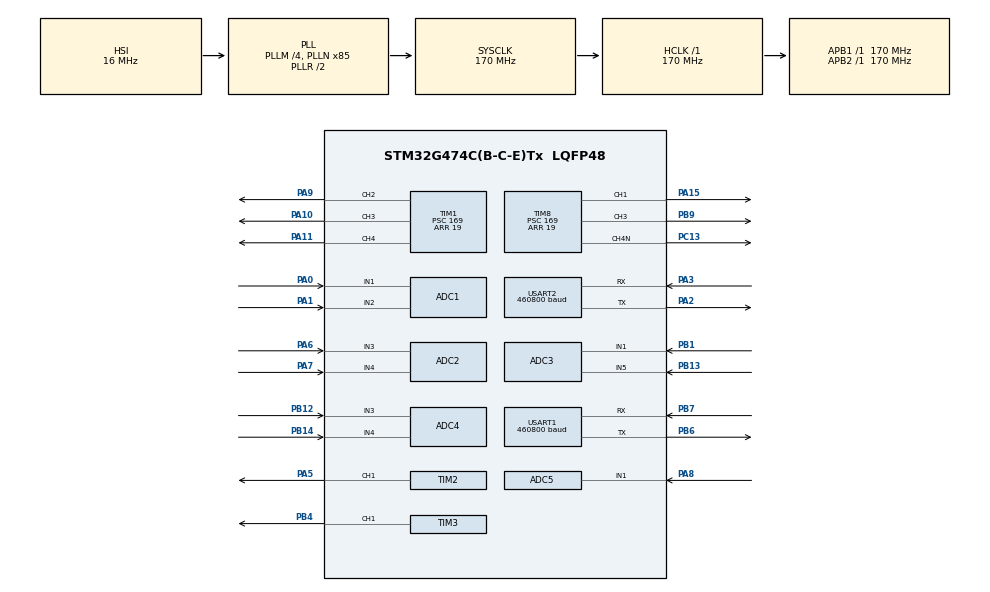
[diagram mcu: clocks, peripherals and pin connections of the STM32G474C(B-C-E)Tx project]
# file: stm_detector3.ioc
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ADC1.Channel-0\#ChannelRegularConversion=ADC_CHANNEL_1
ADC1.NbrOfConversionFlag=1
ADC1.OffsetNumber-0\#ChannelRegularConversion=ADC_OFFSET_NONE
ADC1.Rank-0\#ChannelRegularConversion=1
ADC1.SamplingTime-0\#ChannelRegularConversion=ADC_SAMPLETIME_2CYCLES_5
ADC1.master=1
ADC2.Channel-0\#ChannelRegularConversion=ADC_CHANNEL_3
ADC2.NbrOfConversionFlag=1
ADC2.OffsetNumber-0\#ChannelRegularConversion=ADC_OFFSET_NONE
ADC2.Rank-0\#ChannelRegularConversion=1
ADC2.SamplingTime-0\#ChannelRegularConversion=ADC_SAMPLETIME_2CYCLES_5
ADC3.Channel-0\#ChannelRegularConversion=ADC_CHANNEL_1
ADC3.NbrOfConversionFlag=1
ADC3.OffsetNumber-0\#ChannelRegularConversion=ADC_OFFSET_NONE
ADC3.Rank-0\#ChannelRegularConversion=1
ADC3.SamplingTime-0\#ChannelRegularConversion=ADC_SAMPLETIME_2CYCLES_5
ADC3.master=1
ADC4.Channel-0\#ChannelRegularConversion=ADC_CHANNEL_3
ADC4.NbrOfConversionFlag=1
ADC4.OffsetNumber-0\#ChannelRegularConversion=ADC_OFFSET_NONE
ADC4.Rank-0\#ChannelRegularConversion=1
ADC4.SamplingTime-0\#ChannelRegularConversion=ADC_SAMPLETIME_2CYCLES_5
ADC5.Channel-0\#ChannelRegularConversion=ADC_CHANNEL_TEMPSENSOR_ADC5
ADC5.NbrOfConversionFlag=1
ADC5.OffsetNumber-0\#ChannelRegularConversion=ADC_OFFSET_NONE
ADC5.Rank-0\#ChannelRegularConversion=1
ADC5.SamplingTime-0\#ChannelRegularConversion=ADC_SAMPLETIME_2CYCLES_5
Dma.Request0=USART2_RX
Dma.USART2_RX.0.Direction=DMA_PERIPH_TO_MEMORY
Dma.USART2_RX.0.EventEnable=DISABLE
Dma.USART2_RX.0.Instance=DMA1_Channel1
Dma.USART2_RX.0.MemDataAlignment=DMA_MDATAALIGN_BYTE
Dma.USART2_RX.0.MemInc=DMA_MINC_ENABLE
Dma.USART2_RX.0.Mode=DMA_CIRCULAR
Dma.USART2_RX.0.PeriphDataAlignment=DMA_PDATAALIGN_BYTE
Dma.USART2_RX.0.PeriphInc=DMA_PINC_DISABLE
Dma.USART2_RX.0.Polarity=HAL_DMAMUX_REQ_GEN_RISING
Dma.USART2_RX.0.Priority=DMA_PRIORITY_MEDIUM
Dma.USART2_RX.0.RequestNumber=1
Dma.USART2_RX.0.SignalID=NONE
Dma.USART2_RX.0.SyncEnable=DISABLE
Dma.USART2_RX.0.SyncPolarity=HAL_DMAMUX_SYNC_NO_EVENT
Dma.USART2_RX.0.SyncRequestNumber=1
Dma.USART2_RX.0.SyncSignalID=NONE
FREERTOS.Tasks01=defaultTask,24,512,StartDefaultTask,Default,NULL,Dynamic,NULL,NULL
FREERTOS.configTOTAL_HEAP_SIZE=8192
FREERTOS.configUSE_NEWLIB_REENTRANT=1
Mcu.Family=STM32G4
Mcu.Name=STM32G474C(B-C-E)Tx
Mcu.Package=LQFP48
NVIC.DMA1_Channel1_IRQn=true\:5\:0\:false\:false\:true\:true\:false\:true\:true
NVIC.PriorityGroup=NVIC_PRIORITYGROUP_4
NVIC.TIM1_UP_TIM16_IRQn=true\:5\:0\:false\:false\:true\:true\:true\:true\:true
NVIC.TIM2_IRQn=true\:5\:0\:false\:false\:true\:true\:true\:true\:true
NVIC.TIM3_IRQn=true\:5\:0\:false\:false\:true\:true\:true\:true\:true
NVIC.TIM4_IRQn=true\:15\:0\:false\:false\:true\:false\:false\:true\:true
NVIC.TIM8_UP_IRQn=true\:5\:0\:false\:false\:true\:true\:true\:true\:true
NVIC.TimeBase=TIM4_IRQn
NVIC.TimeBaseIP=TIM4
NVIC.USART2_IRQn=true\:5\:0\:false\:false\:true\:true\:true\:true\:true
PA0.Mode=IN1-Single-Ended
PA0.Signal=ADC1_IN1
PA1.Mode=IN2-Single-Ended
PA1.Signal=ADC1_IN2
PA10.Signal=S_TIM1_CH3
PA11.Signal=S_TIM1_CH4
PA15.Signal=S_TIM8_CH1
PA2.Mode=Asynchronous
PA2.Signal=USART2_TX
PA3.Mode=Asynchronous
PA3.Signal=USART2_RX
PA5.Signal=S_TIM2_CH1
PA6.Mode=IN3-Single-Ended
PA6.Signal=ADC2_IN3
PA7.Mode=IN4-Single-Ended
PA7.Signal=ADC2_IN4
PA8.Mode=IN1-Single-Ended
PA8.Signal=ADC5_IN1
PA9.Signal=S_TIM1_CH2
PB1.Mode=IN1-Single-Ended
PB1.Signal=ADC3_IN1
PB12.Mode=IN3-Single-Ended
PB12.Signal=ADC4_IN3
PB13.Mode=IN5-Single-Ended
PB13.Signal=ADC3_IN5
PB14.Mode=IN4-Single-Ended
PB14.Signal=ADC4_IN4
PB4.Signal=S_TIM3_CH1
PB6.Mode=Asynchronous
PB6.Signal=USART1_TX
PB7.GPIO_PuPd=GPIO_PULLUP
PB7.Mode=Asynchronous
PB7.Signal=USART1_RX
PB9.Signal=S_TIM8_CH3
PC13.Mode=Output Compare4 CH4N
PC13.Signal=TIM8_CH4N
ProjectManager.HeapSize=0x200
ProjectManager.StackSize=0x400
ProjectManager.TargetToolchain=STM32CubeIDE
RCC.ADC12Freq_Value=170000000
RCC.ADC345Freq_Value=170000000
RCC.AHBFreq_Value=170000000
RCC.APB1Freq_Value=170000000
RCC.APB1TimFreq_Value=170000000
RCC.APB2Freq_Value=170000000
RCC.APB2TimFreq_Value=170000000
RCC.CortexFreq_Value=170000000
RCC.EXTERNAL_CLOCK_VALUE=12288000
RCC.HCLKFreq_Value=170000000
RCC.HSE_VALUE=8000000
RCC.HSI48_VALUE=48000000
RCC.HSI_VALUE=16000000
RCC.LSE_VALUE=32768
RCC.PLLM=RCC_PLLM_DIV4
RCC.PLLN=85
RCC.SYSCLKFreq_VALUE=170000000
RCC.SYSCLKSource=RCC_SYSCLKSOURCE_PLLCLK
RCC.USBFreq_Value=170000000
RCC.VCOOutputFreq_Value=340000000
SH.S_TIM1_CH2.0=TIM1_CH2,Output Compare2 CH2
SH.S_TIM1_CH3.0=TIM1_CH3,Output Compare3 CH3
SH.S_TIM1_CH4.0=TIM1_CH4,Output Compare4 CH4
SH.S_TIM2_CH1.0=TIM2_CH1,Output Compare1 CH1
SH.S_TIM3_CH1.0=TIM3_CH1,Output Compare1 CH1
SH.S_TIM8_CH1.0=TIM8_CH1,Output Compare1 CH1
SH.S_TIM8_CH3.0=TIM8_CH3,Output Compare3 CH3
TIM1.Channel-Output\ Compare2\ CH2=TIM_CHANNEL_2
TIM1.Channel-Output\ Compare3\ CH3=TIM_CHANNEL_3
TIM1.Channel-Output\ Compare4\ CH4=TIM_CHANNEL_4
TIM1.OCPolarity_4=TIM_OCPOLARITY_LOW
TIM1.PeriodNoDither=19
TIM1.Prescaler=169
TIM1.PulseNoDither_2=16
TIM1.PulseNoDither_3=16
TIM1.PulseNoDither_4=16
TIM2.Channel-Output\ Compare1\ CH1=TIM_CHANNEL_1
TIM2.Prescaler=169
TIM2.PulseNoDither_1=120
TIM3.Channel-Output\ Compare1\ CH1=TIM_CHANNEL_1
TIM3.Prescaler=169
TIM3.PulseNoDither_1=120
TIM8.Channel-Output\ Compare1\ CH1=TIM_CHANNEL_1
TIM8.Channel-Output\ Compare3\ CH3=TIM_CHANNEL_3
TIM8.Channel-Output\ Compare4\ CH4N=TIM_CHANNEL_4
TIM8.OCNPolarity_4=TIM_OCNPOLARITY_LOW
TIM8.PeriodNoDither=19
TIM8.Prescaler=169
TIM8.PulseNoDither_1=16
TIM8.PulseNoDither_3=16
TIM8.PulseNoDither_4=16
USART1.BaudRate=460800
USART1.FIFOMode=FIFOMODE_ENABLE
USART1.VirtualMode-Asynchronous=VM_ASYNC
USART2.BaudRate=460800
USART2.VirtualMode-Asynchronous=VM_ASYNC
VP_ADC5_TempSens_Input.Mode=IN-TempSens
VP_FREERTOS_VS_CMSIS_V2.Mode=CMSIS_V2
VP_SYS_VS_DBSignals.Mode=DisableDeadBatterySignals
VP_SYS_VS_tim4.Mode=TIM4
VP_TIM1_VS_ClockSourceINT.Mode=Internal
VP_TIM1_VS_OPM.Mode=OPM_bit
VP_TIM2_VS_ClockSourceINT.Mode=Internal
VP_TIM3_VS_ClockSourceINT.Mode=Internal
VP_TIM8_VS_ClockSourceINT.Mode=Internal
VP_TIM8_VS_OPM.Mode=OPM_bit
board=custom

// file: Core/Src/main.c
/* USER CODE BEGIN Header */
/**
  ******************************************************************************
  * @file           : main.c
  * @brief          : Main program body
  ******************************************************************************
  * @attention
  *
  * Copyright (c) 2026 STMicroelectronics.
  * All rights reserved.
  *
  * This software is licensed under terms that can be found in the LICENSE file
  * in the root directory of this software component.
  * If no LICENSE file comes with this software, it is provided AS-IS.
  *
  ******************************************************************************
  */
/* USER CODE END Header */
#include "main.h"
#include "cmsis_os.h"

/* USER CODE BEGIN Includes */
#include <stdio.h>
#include "gps.h"
#include "metal_detector.h"
/* USER CODE END Includes */

ADC_HandleTypeDef hadc1;
ADC_HandleTypeDef hadc2;
ADC_HandleTypeDef hadc3;
ADC_HandleTypeDef hadc4;
ADC_HandleTypeDef hadc5;

TIM_HandleTypeDef htim1;
TIM_HandleTypeDef htim2;
TIM_HandleTypeDef htim3;
TIM_HandleTypeDef htim8;

UART_HandleTypeDef huart1;
UART_HandleTypeDef huart2;
DMA_HandleTypeDef hdma_usart2_rx;

/* Definitions for defaultTask */
osThreadId_t defaultTaskHandle;
const osThreadAttr_t defaultTask_attributes = {
  .name = "defaultTask",
  .priority = (osPriority_t) osPriorityNormal,
  .stack_size = 512 * 4
};

void SystemClock_Config(void);
static void MX_GPIO_Init(void);
static void MX_DMA_Init(void);
static void MX_ADC5_Init(void);
static void MX_TIM2_Init(void);
static void MX_USART1_UART_Init(void);
static void MX_USART2_UART_Init(void);
static void MX_TIM1_Init(void);
static void MX_TIM3_Init(void);
static void MX_TIM8_Init(void);
static void MX_ADC1_Init(void);
static void MX_ADC2_Init(void);
static void MX_ADC3_Init(void);
static void MX_ADC4_Init(void);
void StartDefaultTask(void *argument);

/* USER CODE BEGIN 0 */
/* Retarget printf to USART1 (console). This custom board has no Nucleo BSP,
 * so we provide the newlib _write syscall ourselves: the strong definition
 * here overrides the weak one in syscalls.c, whose __io_putchar dead-ends. */
int _write(int file, char *ptr, int len)
{
  (void)file;
  HAL_UART_Transmit(&huart1, (uint8_t *)ptr, (uint16_t)len, HAL_MAX_DELAY);
  return len;
}

/* Heading CSV field: value only while the dual-antenna solution is good
 * (THS status 'A') and fresh (<1 s); otherwise the field is left empty.
 * The USART2 IRQ is the only writer of the three globals, so snapshot
 * them with just THAT interrupt masked — not PRIMASK: a global mask would
 * also hold off the TIM7 pacer (4), TIM1/TIM8 update (2) and ADC (3), the
 * timeline this firmware promises no GPS-side activity can touch, once
 * per fix while locked. Sub-µs either way; the CM flag simply pends. A
 * stale latch is then cleared so a frozen timestamp can't resurrect a
 * weeks-old heading when the 32-bit tick wraps (~49.7 days). */
static void print_heading_field(void)
{
  HAL_NVIC_DisableIRQ(USART2_IRQn);
  uint8_t  valid = gps_heading_valid;
  float    deg   = gps_heading_deg;
  uint32_t ts    = last_ths_timestamp;
  HAL_NVIC_EnableIRQ(USART2_IRQn);

  if (valid && HAL_GetTick() - ts < 1000U)
  {
    printf(",%.2f", (double)deg);
  }
  else
  {
    if (valid)
      gps_heading_valid = 0;   /* stale: drop the latch (tick-wrap guard) */
    printf(",");
  }
}

/* Append the 1 Hz status pair (,vin_V,temp_C) to the CSV line being
 * assembled, when a second has passed since the last one. Rides whatever
 * line prints next — sample or anchor — so no extra line shape exists. */
static void print_status_if_due(uint32_t *last_tick)
{
  if (HAL_GetTick() - *last_tick < 1000U)
    return;
  *last_tick = HAL_GetTick();
  float vin_v, temp_c;
  md_status_read(&vin_v, &temp_c);
  printf(",%.3f,%.1f", vin_v, temp_c);
}
/* USER CODE END 0 */

int main(void)
{

  /* MCU Configuration--------------------------------------------------------*/

  /* Reset of all peripherals, Initializes the Flash interface and the Systick. */
  HAL_Init();

  /* Configure the system clock */
  SystemClock_Config();

  /* Initialize all configured peripherals */
  MX_GPIO_Init();
  MX_DMA_Init();
  MX_ADC5_Init();
  MX_TIM2_Init();
  MX_USART1_UART_Init();
  MX_USART2_UART_Init();
  MX_TIM1_Init();
  MX_TIM3_Init();
  MX_TIM8_Init();
  MX_ADC1_Init();
  MX_ADC2_Init();
  MX_ADC3_Init();
  MX_ADC4_Init();
  /* USER CODE BEGIN 2 */
  printf("\r\n# stm_detector3 boot\r\n");
  /* USER CODE END 2 */

  /* Init scheduler */
  osKernelInitialize();

  /* Create the thread(s) */
  /* creation of defaultTask */
  defaultTaskHandle = osThreadNew(StartDefaultTask, NULL, &defaultTask_attributes);

  /* Start scheduler */
  osKernelStart();

  /* We should never get here as control is now taken by the scheduler */

  /* Infinite loop */
  while (1)
  {

  }
}

void SystemClock_Config(void)
{
  RCC_OscInitTypeDef RCC_OscInitStruct = {0};
  RCC_ClkInitTypeDef RCC_ClkInitStruct = {0};

  /** Configure the main internal regulator output voltage
  */
  HAL_PWREx_ControlVoltageScaling(PWR_REGULATOR_VOLTAGE_SCALE1_BOOST);

  /** Initializes the RCC Oscillators according to the specified parameters
  * in the RCC_OscInitTypeDef structure.
  */
  RCC_OscInitStruct.OscillatorType = RCC_OSCILLATORTYPE_HSI;
  RCC_OscInitStruct.HSIState = RCC_HSI_ON;
  RCC_OscInitStruct.HSICalibrationValue = RCC_HSICALIBRATION_DEFAULT;
  RCC_OscInitStruct.PLL.PLLState = RCC_PLL_ON;
  RCC_OscInitStruct.PLL.PLLSource = RCC_PLLSOURCE_HSI;
  RCC_OscInitStruct.PLL.PLLM = RCC_PLLM_DIV4;
  RCC_OscInitStruct.PLL.PLLN = 85;
  RCC_OscInitStruct.PLL.PLLP = RCC_PLLP_DIV2;
  RCC_OscInitStruct.PLL.PLLQ = RCC_PLLQ_DIV2;
  RCC_OscInitStruct.PLL.PLLR = RCC_PLLR_DIV2;
  if (HAL_RCC_OscConfig(&RCC_OscInitStruct) != HAL_OK)
  {
    Error_Handler();
  }

  /** Initializes the CPU, AHB and APB buses clocks
  */
  RCC_ClkInitStruct.ClockType = RCC_CLOCKTYPE_HCLK|RCC_CLOCKTYPE_SYSCLK
                              |RCC_CLOCKTYPE_PCLK1|RCC_CLOCKTYPE_PCLK2;
  RCC_ClkInitStruct.SYSCLKSource = RCC_SYSCLKSOURCE_PLLCLK;
  RCC_ClkInitStruct.AHBCLKDivider = RCC_SYSCLK_DIV1;
  RCC_ClkInitStruct.APB1CLKDivider = RCC_HCLK_DIV1;
  RCC_ClkInitStruct.APB2CLKDivider = RCC_HCLK_DIV1;

  if (HAL_RCC_ClockConfig(&RCC_ClkInitStruct, FLASH_LATENCY_4) != HAL_OK)
  {
    Error_Handler();
  }
}

static void MX_ADC1_Init(void)
{

  ADC_MultiModeTypeDef multimode = {0};
  ADC_ChannelConfTypeDef sConfig = {0};

  /** Common config
  */
  hadc1.Instance = ADC1;
  hadc1.Init.ClockPrescaler = ADC_CLOCK_SYNC_PCLK_DIV4;
  hadc1.Init.Resolution = ADC_RESOLUTION_12B;
  hadc1.Init.DataAlign = ADC_DATAALIGN_RIGHT;
  hadc1.Init.GainCompensation = 0;
  hadc1.Init.ScanConvMode = ADC_SCAN_DISABLE;
  hadc1.Init.EOCSelection = ADC_EOC_SINGLE_CONV;
  hadc1.Init.LowPowerAutoWait = DISABLE;
  hadc1.Init.ContinuousConvMode = DISABLE;
  hadc1.Init.NbrOfConversion = 1;
  hadc1.Init.DiscontinuousConvMode = DISABLE;
  hadc1.Init.ExternalTrigConv = ADC_SOFTWARE_START;
  hadc1.Init.ExternalTrigConvEdge = ADC_EXTERNALTRIGCONVEDGE_NONE;
  hadc1.Init.DMAContinuousRequests = DISABLE;
  hadc1.Init.Overrun = ADC_OVR_DATA_PRESERVED;
  hadc1.Init.OversamplingMode = DISABLE;
  if (HAL_ADC_Init(&hadc1) != HAL_OK)
  {
    Error_Handler();
  }

  /** Configure the ADC multi-mode
  */
  multimode.Mode = ADC_MODE_INDEPENDENT;
  if (HAL_ADCEx_MultiModeConfigChannel(&hadc1, &multimode) != HAL_OK)
  {
    Error_Handler();
  }

  /** Configure Regular Channel
  */
  sConfig.Channel = ADC_CHANNEL_1;
  sConfig.Rank = ADC_REGULAR_RANK_1;
  sConfig.SamplingTime = ADC_SAMPLETIME_2CYCLES_5;
  sConfig.SingleDiff = ADC_SINGLE_ENDED;
  sConfig.OffsetNumber = ADC_OFFSET_NONE;
  sConfig.Offset = 0;
  if (HAL_ADC_ConfigChannel(&hadc1, &sConfig) != HAL_OK)
  {
    Error_Handler();
  }

}

static void MX_ADC2_Init(void)
{

  ADC_ChannelConfTypeDef sConfig = {0};

  /** Common config
  */
  hadc2.Instance = ADC2;
  hadc2.Init.ClockPrescaler = ADC_CLOCK_SYNC_PCLK_DIV4;
  hadc2.Init.Resolution = ADC_RESOLUTION_12B;
  hadc2.Init.DataAlign = ADC_DATAALIGN_RIGHT;
  hadc2.Init.GainCompensation = 0;
  hadc2.Init.ScanConvMode = ADC_SCAN_DISABLE;
  hadc2.Init.EOCSelection = ADC_EOC_SINGLE_CONV;
  hadc2.Init.LowPowerAutoWait = DISABLE;
  hadc2.Init.ContinuousConvMode = DISABLE;
  hadc2.Init.NbrOfConversion = 1;
  hadc2.Init.DiscontinuousConvMode = DISABLE;
  hadc2.Init.ExternalTrigConv = ADC_SOFTWARE_START;
  hadc2.Init.ExternalTrigConvEdge = ADC_EXTERNALTRIGCONVEDGE_NONE;
  hadc2.Init.DMAContinuousRequests = DISABLE;
  hadc2.Init.Overrun = ADC_OVR_DATA_PRESERVED;
  hadc2.Init.OversamplingMode = DISABLE;
  if (HAL_ADC_Init(&hadc2) != HAL_OK)
  {
    Error_Handler();
  }

  /** Configure Regular Channel
  */
  sConfig.Channel = ADC_CHANNEL_3;
  sConfig.Rank = ADC_REGULAR_RANK_1;
  sConfig.SamplingTime = ADC_SAMPLETIME_2CYCLES_5;
  sConfig.SingleDiff = ADC_SINGLE_ENDED;
  sConfig.OffsetNumber = ADC_OFFSET_NONE;
  sConfig.Offset = 0;
  if (HAL_ADC_ConfigChannel(&hadc2, &sConfig) != HAL_OK)
  {
    Error_Handler();
  }

}

static void MX_ADC3_Init(void)
{

  ADC_MultiModeTypeDef multimode = {0};
  ADC_ChannelConfTypeDef sConfig = {0};

  /** Common config
  */
  hadc3.Instance = ADC3;
  hadc3.Init.ClockPrescaler = ADC_CLOCK_SYNC_PCLK_DIV4;
  hadc3.Init.Resolution = ADC_RESOLUTION_12B;
  hadc3.Init.DataAlign = ADC_DATAALIGN_RIGHT;
  hadc3.Init.GainCompensation = 0;
  hadc3.Init.ScanConvMode = ADC_SCAN_DISABLE;
  hadc3.Init.EOCSelection = ADC_EOC_SINGLE_CONV;
  hadc3.Init.LowPowerAutoWait = DISABLE;
  hadc3.Init.ContinuousConvMode = DISABLE;
  hadc3.Init.NbrOfConversion = 1;
  hadc3.Init.DiscontinuousConvMode = DISABLE;
  hadc3.Init.ExternalTrigConv = ADC_SOFTWARE_START;
  hadc3.Init.ExternalTrigConvEdge = ADC_EXTERNALTRIGCONVEDGE_NONE;
  hadc3.Init.DMAContinuousRequests = DISABLE;
  hadc3.Init.Overrun = ADC_OVR_DATA_PRESERVED;
  hadc3.Init.OversamplingMode = DISABLE;
  if (HAL_ADC_Init(&hadc3) != HAL_OK)
  {
    Error_Handler();
  }

  /** Configure the ADC multi-mode
  */
  multimode.Mode = ADC_MODE_INDEPENDENT;
  if (HAL_ADCEx_MultiModeConfigChannel(&hadc3, &multimode) != HAL_OK)
  {
    Error_Handler();
  }

  /** Configure Regular Channel
  */
  sConfig.Channel = ADC_CHANNEL_1;
  sConfig.Rank = ADC_REGULAR_RANK_1;
  sConfig.SamplingTime = ADC_SAMPLETIME_2CYCLES_5;
  sConfig.SingleDiff = ADC_SINGLE_ENDED;
  sConfig.OffsetNumber = ADC_OFFSET_NONE;
  sConfig.Offset = 0;
  if (HAL_ADC_ConfigChannel(&hadc3, &sConfig) != HAL_OK)
  {
    Error_Handler();
  }

}

static void MX_ADC4_Init(void)
{

  ADC_ChannelConfTypeDef sConfig = {0};

  /** Common config
  */
  hadc4.Instance = ADC4;
  hadc4.Init.ClockPrescaler = ADC_CLOCK_SYNC_PCLK_DIV4;
  hadc4.Init.Resolution = ADC_RESOLUTION_12B;
  hadc4.Init.DataAlign = ADC_DATAALIGN_RIGHT;
  hadc4.Init.GainCompensation = 0;
  hadc4.Init.ScanConvMode = ADC_SCAN_DISABLE;
  hadc4.Init.EOCSelection = ADC_EOC_SINGLE_CONV;
  hadc4.Init.LowPowerAutoWait = DISABLE;
  hadc4.Init.ContinuousConvMode = DISABLE;
  hadc4.Init.NbrOfConversion = 1;
  hadc4.Init.DiscontinuousConvMode = DISABLE;
  hadc4.Init.ExternalTrigConv = ADC_SOFTWARE_START;
  hadc4.Init.ExternalTrigConvEdge = ADC_EXTERNALTRIGCONVEDGE_NONE;
  hadc4.Init.DMAContinuousRequests = DISABLE;
  hadc4.Init.Overrun = ADC_OVR_DATA_PRESERVED;
  hadc4.Init.OversamplingMode = DISABLE;
  if (HAL_ADC_Init(&hadc4) != HAL_OK)
  {
    Error_Handler();
  }

  /** Configure Regular Channel
  */
  sConfig.Channel = ADC_CHANNEL_3;
  sConfig.Rank = ADC_REGULAR_RANK_1;
  sConfig.SamplingTime = ADC_SAMPLETIME_2CYCLES_5;
  sConfig.SingleDiff = ADC_SINGLE_ENDED;
  sConfig.OffsetNumber = ADC_OFFSET_NONE;
  sConfig.Offset = 0;
  if (HAL_ADC_ConfigChannel(&hadc4, &sConfig) != HAL_OK)
  {
    Error_Handler();
  }

}

static void MX_ADC5_Init(void)
{

  ADC_ChannelConfTypeDef sConfig = {0};

  /** Common config
  */
  hadc5.Instance = ADC5;
  hadc5.Init.ClockPrescaler = ADC_CLOCK_SYNC_PCLK_DIV4;
  hadc5.Init.Resolution = ADC_RESOLUTION_12B;
  hadc5.Init.DataAlign = ADC_DATAALIGN_RIGHT;
  hadc5.Init.GainCompensation = 0;
  hadc5.Init.ScanConvMode = ADC_SCAN_DISABLE;
  hadc5.Init.EOCSelection = ADC_EOC_SINGLE_CONV;
  hadc5.Init.LowPowerAutoWait = DISABLE;
  hadc5.Init.ContinuousConvMode = DISABLE;
  hadc5.Init.NbrOfConversion = 1;
  hadc5.Init.DiscontinuousConvMode = DISABLE;
  hadc5.Init.ExternalTrigConv = ADC_SOFTWARE_START;
  hadc5.Init.ExternalTrigConvEdge = ADC_EXTERNALTRIGCONVEDGE_NONE;
  hadc5.Init.DMAContinuousRequests = DISABLE;
  hadc5.Init.Overrun = ADC_OVR_DATA_PRESERVED;
  hadc5.Init.OversamplingMode = DISABLE;
  if (HAL_ADC_Init(&hadc5) != HAL_OK)
  {
    Error_Handler();
  }

  /** Configure Regular Channel
  */
  sConfig.Channel = ADC_CHANNEL_TEMPSENSOR_ADC5;
  sConfig.Rank = ADC_REGULAR_RANK_1;
  sConfig.SamplingTime = ADC_SAMPLETIME_2CYCLES_5;
  sConfig.SingleDiff = ADC_SINGLE_ENDED;
  sConfig.OffsetNumber = ADC_OFFSET_NONE;
  sConfig.Offset = 0;
  if (HAL_ADC_ConfigChannel(&hadc5, &sConfig) != HAL_OK)
  {
    Error_Handler();
  }

}

static void MX_TIM1_Init(void)
{

  TIM_ClockConfigTypeDef sClockSourceConfig = {0};
  TIM_MasterConfigTypeDef sMasterConfig = {0};
  TIM_OC_InitTypeDef sConfigOC = {0};
  TIM_BreakDeadTimeConfigTypeDef sBreakDeadTimeConfig = {0};

  htim1.Instance = TIM1;
  htim1.Init.Prescaler = 169;
  htim1.Init.CounterMode = TIM_COUNTERMODE_UP;
  htim1.Init.Period = 19;
  htim1.Init.ClockDivision = TIM_CLOCKDIVISION_DIV1;
  htim1.Init.RepetitionCounter = 0;
  htim1.Init.AutoReloadPreload = TIM_AUTORELOAD_PRELOAD_DISABLE;
  if (HAL_TIM_Base_Init(&htim1) != HAL_OK)
  {
    Error_Handler();
  }
  sClockSourceConfig.ClockSource = TIM_CLOCKSOURCE_INTERNAL;
  if (HAL_TIM_ConfigClockSource(&htim1, &sClockSourceConfig) != HAL_OK)
  {
    Error_Handler();
  }
  if (HAL_TIM_OC_Init(&htim1) != HAL_OK)
  {
    Error_Handler();
  }
  if (HAL_TIM_OnePulse_Init(&htim1, TIM_OPMODE_SINGLE) != HAL_OK)
  {
    Error_Handler();
  }
  sMasterConfig.MasterOutputTrigger = TIM_TRGO_RESET;
  sMasterConfig.MasterOutputTrigger2 = TIM_TRGO2_RESET;
  sMasterConfig.MasterSlaveMode = TIM_MASTERSLAVEMODE_DISABLE;
  if (HAL_TIMEx_MasterConfigSynchronization(&htim1, &sMasterConfig) != HAL_OK)
  {
    Error_Handler();
  }
  sConfigOC.OCMode = TIM_OCMODE_TIMING;
  sConfigOC.Pulse = 16;
  sConfigOC.OCPolarity = TIM_OCPOLARITY_HIGH;
  sConfigOC.OCNPolarity = TIM_OCNPOLARITY_HIGH;
  sConfigOC.OCFastMode = TIM_OCFAST_DISABLE;
  sConfigOC.OCIdleState = TIM_OCIDLESTATE_RESET;
  sConfigOC.OCNIdleState = TIM_OCNIDLESTATE_RESET;
  if (HAL_TIM_OC_ConfigChannel(&htim1, &sConfigOC, TIM_CHANNEL_2) != HAL_OK)
  {
    Error_Handler();
  }
  if (HAL_TIM_OC_ConfigChannel(&htim1, &sConfigOC, TIM_CHANNEL_3) != HAL_OK)
  {
    Error_Handler();
  }
  sConfigOC.OCPolarity = TIM_OCPOLARITY_LOW;
  if (HAL_TIM_OC_ConfigChannel(&htim1, &sConfigOC, TIM_CHANNEL_4) != HAL_OK)
  {
    Error_Handler();
  }
  sBreakDeadTimeConfig.OffStateRunMode = TIM_OSSR_DISABLE;
  sBreakDeadTimeConfig.OffStateIDLEMode = TIM_OSSI_DISABLE;
  sBreakDeadTimeConfig.LockLevel = TIM_LOCKLEVEL_OFF;
  sBreakDeadTimeConfig.DeadTime = 0;
  sBreakDeadTimeConfig.BreakState = TIM_BREAK_DISABLE;
  sBreakDeadTimeConfig.BreakPolarity = TIM_BREAKPOLARITY_HIGH;
  sBreakDeadTimeConfig.BreakFilter = 0;
  sBreakDeadTimeConfig.BreakAFMode = TIM_BREAK_AFMODE_INPUT;
  sBreakDeadTimeConfig.Break2State = TIM_BREAK2_DISABLE;
  sBreakDeadTimeConfig.Break2Polarity = TIM_BREAK2POLARITY_HIGH;
  sBreakDeadTimeConfig.Break2Filter = 0;
  sBreakDeadTimeConfig.Break2AFMode = TIM_BREAK_AFMODE_INPUT;
  sBreakDeadTimeConfig.AutomaticOutput = TIM_AUTOMATICOUTPUT_DISABLE;
  if (HAL_TIMEx_ConfigBreakDeadTime(&htim1, &sBreakDeadTimeConfig) != HAL_OK)
  {
    Error_Handler();
  }
  HAL_TIM_MspPostInit(&htim1);

}

static void MX_TIM2_Init(void)
{

  TIM_ClockConfigTypeDef sClockSourceConfig = {0};
  TIM_MasterConfigTypeDef sMasterConfig = {0};
  TIM_OC_InitTypeDef sConfigOC = {0};

  htim2.Instance = TIM2;
  htim2.Init.Prescaler = 169;
  htim2.Init.CounterMode = TIM_COUNTERMODE_UP;
  htim2.Init.Period = 4294967295;
  htim2.Init.ClockDivision = TIM_CLOCKDIVISION_DIV1;
  htim2.Init.AutoReloadPreload = TIM_AUTORELOAD_PRELOAD_DISABLE;
  if (HAL_TIM_Base_Init(&htim2) != HAL_OK)
  {
    Error_Handler();
  }
  sClockSourceConfig.ClockSource = TIM_CLOCKSOURCE_INTERNAL;
  if (HAL_TIM_ConfigClockSource(&htim2, &sClockSourceConfig) != HAL_OK)
  {
    Error_Handler();
  }
  if (HAL_TIM_OC_Init(&htim2) != HAL_OK)
  {
    Error_Handler();
  }
  sMasterConfig.MasterOutputTrigger = TIM_TRGO_RESET;
  sMasterConfig.MasterSlaveMode = TIM_MASTERSLAVEMODE_DISABLE;
  if (HAL_TIMEx_MasterConfigSynchronization(&htim2, &sMasterConfig) != HAL_OK)
  {
    Error_Handler();
  }
  sConfigOC.OCMode = TIM_OCMODE_TIMING;
  sConfigOC.Pulse = 120;
  sConfigOC.OCPolarity = TIM_OCPOLARITY_HIGH;
  sConfigOC.OCFastMode = TIM_OCFAST_DISABLE;
  if (HAL_TIM_OC_ConfigChannel(&htim2, &sConfigOC, TIM_CHANNEL_1) != HAL_OK)
  {
    Error_Handler();
  }
  HAL_TIM_MspPostInit(&htim2);

}

static void MX_TIM3_Init(void)
{

  TIM_ClockConfigTypeDef sClockSourceConfig = {0};
  TIM_MasterConfigTypeDef sMasterConfig = {0};
  TIM_OC_InitTypeDef sConfigOC = {0};

  htim3.Instance = TIM3;
  htim3.Init.Prescaler = 169;
  htim3.Init.CounterMode = TIM_COUNTERMODE_UP;
  htim3.Init.Period = 65535;
  htim3.Init.ClockDivision = TIM_CLOCKDIVISION_DIV1;
  htim3.Init.AutoReloadPreload = TIM_AUTORELOAD_PRELOAD_DISABLE;
  if (HAL_TIM_Base_Init(&htim3) != HAL_OK)
  {
    Error_Handler();
  }
  sClockSourceConfig.ClockSource = TIM_CLOCKSOURCE_INTERNAL;
  if (HAL_TIM_ConfigClockSource(&htim3, &sClockSourceConfig) != HAL_OK)
  {
    Error_Handler();
  }
  if (HAL_TIM_OC_Init(&htim3) != HAL_OK)
  {
    Error_Handler();
  }
  sMasterConfig.MasterOutputTrigger = TIM_TRGO_RESET;
  sMasterConfig.MasterSlaveMode = TIM_MASTERSLAVEMODE_DISABLE;
  if (HAL_TIMEx_MasterConfigSynchronization(&htim3, &sMasterConfig) != HAL_OK)
  {
    Error_Handler();
  }
  sConfigOC.OCMode = TIM_OCMODE_TIMING;
  sConfigOC.Pulse = 120;
  sConfigOC.OCPolarity = TIM_OCPOLARITY_HIGH;
  sConfigOC.OCFastMode = TIM_OCFAST_DISABLE;
  if (HAL_TIM_OC_ConfigChannel(&htim3, &sConfigOC, TIM_CHANNEL_1) != HAL_OK)
  {
    Error_Handler();
  }
  HAL_TIM_MspPostInit(&htim3);

}

static void MX_TIM8_Init(void)
{

  TIM_ClockConfigTypeDef sClockSourceConfig = {0};
  TIM_MasterConfigTypeDef sMasterConfig = {0};
  TIM_OC_InitTypeDef sConfigOC = {0};
  TIM_BreakDeadTimeConfigTypeDef sBreakDeadTimeConfig = {0};

  htim8.Instance = TIM8;
  htim8.Init.Prescaler = 169;
  htim8.Init.CounterMode = TIM_COUNTERMODE_UP;
  htim8.Init.Period = 19;
  htim8.Init.ClockDivision = TIM_CLOCKDIVISION_DIV1;
  htim8.Init.RepetitionCounter = 0;
  htim8.Init.AutoReloadPreload = TIM_AUTORELOAD_PRELOAD_DISABLE;
  if (HAL_TIM_Base_Init(&htim8) != HAL_OK)
  {
    Error_Handler();
  }
  sClockSourceConfig.ClockSource = TIM_CLOCKSOURCE_INTERNAL;
  if (HAL_TIM_ConfigClockSource(&htim8, &sClockSourceConfig) != HAL_OK)
  {
    Error_Handler();
  }
  if (HAL_TIM_OC_Init(&htim8) != HAL_OK)
  {
    Error_Handler();
  }
  if (HAL_TIM_OnePulse_Init(&htim8, TIM_OPMODE_SINGLE) != HAL_OK)
  {
    Error_Handler();
  }
  sMasterConfig.MasterOutputTrigger = TIM_TRGO_RESET;
  sMasterConfig.MasterOutputTrigger2 = TIM_TRGO2_RESET;
  sMasterConfig.MasterSlaveMode = TIM_MASTERSLAVEMODE_DISABLE;
  if (HAL_TIMEx_MasterConfigSynchronization(&htim8, &sMasterConfig) != HAL_OK)
  {
    Error_Handler();
  }
  sConfigOC.OCMode = TIM_OCMODE_TIMING;
  sConfigOC.Pulse = 16;
  sConfigOC.OCPolarity = TIM_OCPOLARITY_HIGH;
  sConfigOC.OCNPolarity = TIM_OCNPOLARITY_HIGH;
  sConfigOC.OCFastMode = TIM_OCFAST_DISABLE;
  sConfigOC.OCIdleState = TIM_OCIDLESTATE_RESET;
  sConfigOC.OCNIdleState = TIM_OCNIDLESTATE_RESET;
  if (HAL_TIM_OC_ConfigChannel(&htim8, &sConfigOC, TIM_CHANNEL_1) != HAL_OK)
  {
    Error_Handler();
  }
  if (HAL_TIM_OC_ConfigChannel(&htim8, &sConfigOC, TIM_CHANNEL_3) != HAL_OK)
  {
    Error_Handler();
  }
  sConfigOC.OCNPolarity = TIM_OCNPOLARITY_LOW;
  if (HAL_TIM_OC_ConfigChannel(&htim8, &sConfigOC, TIM_CHANNEL_4) != HAL_OK)
  {
    Error_Handler();
  }
  sBreakDeadTimeConfig.OffStateRunMode = TIM_OSSR_DISABLE;
  sBreakDeadTimeConfig.OffStateIDLEMode = TIM_OSSI_DISABLE;
  sBreakDeadTimeConfig.LockLevel = TIM_LOCKLEVEL_OFF;
  sBreakDeadTimeConfig.DeadTime = 0;
  sBreakDeadTimeConfig.BreakState = TIM_BREAK_DISABLE;
  sBreakDeadTimeConfig.BreakPolarity = TIM_BREAKPOLARITY_HIGH;
  sBreakDeadTimeConfig.BreakFilter = 0;
  sBreakDeadTimeConfig.BreakAFMode = TIM_BREAK_AFMODE_INPUT;
  sBreakDeadTimeConfig.Break2State = TIM_BREAK2_DISABLE;
  sBreakDeadTimeConfig.Break2Polarity = TIM_BREAK2POLARITY_HIGH;
  sBreakDeadTimeConfig.Break2Filter = 0;
  sBreakDeadTimeConfig.Break2AFMode = TIM_BREAK_AFMODE_INPUT;
  sBreakDeadTimeConfig.AutomaticOutput = TIM_AUTOMATICOUTPUT_DISABLE;
  if (HAL_TIMEx_ConfigBreakDeadTime(&htim8, &sBreakDeadTimeConfig) != HAL_OK)
  {
    Error_Handler();
  }
  HAL_TIM_MspPostInit(&htim8);

}

static void MX_USART1_UART_Init(void)
{

  huart1.Instance = USART1;
  huart1.Init.BaudRate = 460800;
  huart1.Init.WordLength = UART_WORDLENGTH_8B;
  huart1.Init.StopBits = UART_STOPBITS_1;
  huart1.Init.Parity = UART_PARITY_NONE;
  huart1.Init.Mode = UART_MODE_TX_RX;
  huart1.Init.HwFlowCtl = UART_HWCONTROL_NONE;
  huart1.Init.OverSampling = UART_OVERSAMPLING_16;
  huart1.Init.OneBitSampling = UART_ONE_BIT_SAMPLE_DISABLE;
  huart1.Init.ClockPrescaler = UART_PRESCALER_DIV1;
  huart1.AdvancedInit.AdvFeatureInit = UART_ADVFEATURE_NO_INIT;
  if (HAL_UART_Init(&huart1) != HAL_OK)
  {
    Error_Handler();
  }
  if (HAL_UARTEx_SetTxFifoThreshold(&huart1, UART_TXFIFO_THRESHOLD_1_8) != HAL_OK)
  {
    Error_Handler();
  }
  if (HAL_UARTEx_SetRxFifoThreshold(&huart1, UART_RXFIFO_THRESHOLD_1_8) != HAL_OK)
  {
    Error_Handler();
  }
  if (HAL_UARTEx_EnableFifoMode(&huart1) != HAL_OK)
  {
    Error_Handler();
  }
  /* USER CODE BEGIN USART1_Init 2 */
  /* FIFO mode ON (8-deep RX): the console is POLLED from the task loop,
   * whose iteration is dominated by 500 Hz sample-line printf's (~1-2 ms).
   * Without the FIFO a multi-byte burst ("SAVE\n" from the daemon arrives
   * back-to-back at 460800, one byte per ~22 us) loses everything after
   * the first byte to overrun and the word-gated commands never fire.
   * Single tuning keys never showed this - one byte parks in RDR. */
  /* USER CODE END USART1_Init 2 */

}

static void MX_USART2_UART_Init(void)
{

  huart2.Instance = USART2;
  huart2.Init.BaudRate = 460800;
  huart2.Init.WordLength = UART_WORDLENGTH_8B;
  huart2.Init.StopBits = UART_STOPBITS_1;
  huart2.Init.Parity = UART_PARITY_NONE;
  huart2.Init.Mode = UART_MODE_TX_RX;
  huart2.Init.HwFlowCtl = UART_HWCONTROL_NONE;
  huart2.Init.OverSampling = UART_OVERSAMPLING_16;
  huart2.Init.OneBitSampling = UART_ONE_BIT_SAMPLE_DISABLE;
  huart2.Init.ClockPrescaler = UART_PRESCALER_DIV1;
  huart2.AdvancedInit.AdvFeatureInit = UART_ADVFEATURE_NO_INIT;
  if (HAL_UART_Init(&huart2) != HAL_OK)
  {
    Error_Handler();
  }
  if (HAL_UARTEx_SetTxFifoThreshold(&huart2, UART_TXFIFO_THRESHOLD_1_8) != HAL_OK)
  {
    Error_Handler();
  }
  if (HAL_UARTEx_SetRxFifoThreshold(&huart2, UART_RXFIFO_THRESHOLD_1_8) != HAL_OK)
  {
    Error_Handler();
  }
  if (HAL_UARTEx_DisableFifoMode(&huart2) != HAL_OK)
  {
    Error_Handler();
  }
  /* USER CODE BEGIN USART2_Init 2 */

  // Stop DMA requests on RX error (DDRE). detector2 set this via CubeMX
  // AdvancedInit; here we set the struct fields too so the gps.c DMA-stuck
  // watchdog's HAL_UART_Init() re-applies it after a full reinit.
  huart2.AdvancedInit.AdvFeatureInit = UART_ADVFEATURE_DMADISABLEONERROR_INIT;
  huart2.AdvancedInit.DMADisableonRxError = UART_ADVFEATURE_DMA_DISABLEONRXERROR;

  // Configure character match for LF ('\n' = 0x0A)
  // CRITICAL: Must disable UART to write CR2 ADD field (and CR3 DDRE)!
  huart2.Instance->CR1 &= ~USART_CR1_UE;    // Disable UART
  huart2.Instance->CR2 &= ~(0xFFUL << 24);  // Clear ADD field
  huart2.Instance->CR2 |= (0x0AUL << 24);   // Set to LF (0x0A)
  huart2.Instance->CR3 |= USART_CR3_DDRE;   // DMA disable on RX error
  huart2.Instance->CR1 |= USART_CR1_UE;     // Re-enable UART

  /* NVIC 6: below the TIM7 cycle pacer (4) and the detector timeline ISRs
   * (TIM1/TIM8 UIE 2, ADC 3). NMEA parsing in this ISR must never delay a
   * coil pulse or detector bookkeeping; the fix path is read-only with
   * respect to the pacer (md_pace_note_fix). Also below the FreeRTOS
   * syscall ceiling (5), so RTOS critical sections mask this ISR — never
   * the pacer. All detector *edges* are hardware-timed and immune
   * regardless. (stm32g4xx_hal_msp.c re-applies this after a re-init.) */
  HAL_NVIC_SetPriority(USART2_IRQn, 6, 0);
  HAL_NVIC_EnableIRQ(USART2_IRQn);

  // Enable character match interrupt
  __HAL_UART_ENABLE_IT(&huart2, UART_IT_CM);

  // Start DMA reception in circular mode
  HAL_UART_Receive_DMA(&huart2, gps_dma_buffer, GPS_DMA_BUFFER_SIZE);

  /* USER CODE END USART2_Init 2 */

}

static void MX_DMA_Init(void)
{

  /* DMA controller clock enable */
  __HAL_RCC_DMAMUX1_CLK_ENABLE();
  __HAL_RCC_DMA1_CLK_ENABLE();

  /* DMA interrupt init */
  /* DMA1_Channel1_IRQn interrupt configuration */
  HAL_NVIC_SetPriority(DMA1_Channel1_IRQn, 5, 0);
  HAL_NVIC_EnableIRQ(DMA1_Channel1_IRQn);

}

static void MX_GPIO_Init(void)
{

  /* GPIO Ports Clock Enable */
  __HAL_RCC_GPIOC_CLK_ENABLE();
  __HAL_RCC_GPIOA_CLK_ENABLE();
  __HAL_RCC_GPIOB_CLK_ENABLE();

}

void StartDefaultTask(void *argument)
{
  /* USER CODE BEGIN 5 */
  printf("# stm_detector3 GPS bring-up\r\n");

  // Let the GPS module boot (shared supply with the MCU), then enable
  // its NMEA output — it is silent on this UART by default. Everything
  // the GPS sends is echoed #-prefixed while gps_echo_enabled is set,
  // so the config OK acks are visible on the console. The module comes
  // up slightly AFTER the MCU and can miss this burst (or catch only its
  // tail); nothing here waits for it — gps_config_poll (main loop) re-sends
  // the burst, up to three attempts, once the module is heard, if it did
  // not answer every config command.
  osDelay(3000);
  gps_send_config();
  printf("# GPS config sent, echoing GPS output for 1s...\r\n");

  // Grace window: let the final OK acks and the module's restart
  // output reach the echo before turning it off.
  osDelay(1000);
  gps_echo_enabled = 0;
  printf("# GPS startup echo off\r\n");

  // Synchronize GPS read position to current DMA write position
  gps_buffer_read_pos = GPS_DMA_BUFFER_SIZE - __HAL_DMA_GET_COUNTER(huart2.hdmarx);
  last_gga_timestamp = HAL_GetTick();
  printf("# GPS synchronized at DMA position %lu\r\n", gps_buffer_read_pos);

  // Metal detector: shared hardware timeline, cycles paced by a
  // FREE-RUNNING TIM7 at MD_GPS_PERIOD_MS / md_samples_per_period (500 Hz
  // default). The GPS never touches the pacer — fix or no fix, bench or
  // field, the cadence is the same; see the Pacer section in
  // metal_detector.c. Defaults: TX 120us, blanking 16us,
  // rx 3us — all runtime-tunable (saved settings applied in
  // MD_Hardware_Init). Both coil sets fire every cycle; all 8 ADC inputs
  // are converted every cycle.
  MD_Hardware_Init();
  printf("# metal detector pulsing (hw-aligned): tx_pulse=%luus blanking=%luus rx_window=%luus\r\n",
         md_tx_pulse_us, md_blanking_us, md_rx_window_us);
  printf("# adc order: PA0,PA1,PA6,PA7,PB1,PB13,PB12,PB14\r\n");
  printf("# csv fields: lat,lon,fix,adc0..7,gps_ts,heading,tick[,vin_V,temp_C @1/s]\r\n");
  printf("# csv sample lines (%u/fix): adc+tick, gps fields empty; anchor lines (20 Hz): gps+heading+tick, adc empty\r\n",
         md_samples_per_period);
  printf("# no fix: sample lines continue at full rate, no anchor lines\r\n");
  md_print_info();   /* boot banner: gps_ver/gps_id read "?" when the module
                        came up after the config burst — the 'I' key re-asks
                        it, and the daemon's connect-time 'I' is what the
                        study header is built from, not this line */
  md_print_keys();   /* key map reminder for console users */

  md_frame_t frame;
  uint32_t last_status_tick = 0U;

  /* Infinite loop */
  for(;;)
  {
    // Tuning keys (a/z blanking, s/x rx window, g/b sample rate, SAVE+enter
    // — save suspends the pacer for the flash write).
    md_console_poll();

    // Passthrough # lines queued by the GPS IRQ (PQTMTXT/PQTMTAR/THS) —
    // printed here so they land between CSV lines, never inside one.
    gps_echo_drain();

    // Config-burst re-send for a module that came up after the boot burst
    // (one command per call; its # lines land between CSV lines too).
    gps_config_poll();

    // Cycles start in the TIM7 pacer IRQ (md_pace_fired), not here; every
    // completed frame lands in the frame ring with its sample tick.
    //
    // Sample lines — one per frame, oldest first. The GPS fields are
    // empty on purpose: position is the daemon's job, interpolated
    // between anchors in tick space (the pacer runs at a fixed interval,
    // so ticks are evenly spaced in time). Drained BEFORE the anchor
    // check so an anchor always
    // follows the sample line its tick refers to — the anchored frame
    // completed (and was queued) before the fix's GGA finished parsing.
    while (md_frame_pop(&frame))
    {
      printf(",,,%u,%u,%u,%u,%u,%u,%u,%u,,,%lu",
             frame.adc[0], frame.adc[1], frame.adc[2], frame.adc[3],
             frame.adc[4], frame.adc[5], frame.adc[6], frame.adc[7],
             (unsigned long)frame.tick);
      print_status_if_due(&last_status_tick);
      printf("\n");
    }

    // Anchor lines — one per valid GGA fix (~20 Hz), pure position: the
    // ADC fields are empty and the tick names the frame this fix belongs
    // with (the newest frame completed when the GGA parsed — within one
    // sample interval before it). heading is empty unless the
    // dual-antenna THS solution is good.
    if (new_gga_available && latest_gps_position.valid)
    {
      printf("%.9f,%.9f,%d,,,,,,,,,%.6f",
             latest_gps_position.latitude,
             latest_gps_position.longitude,
             latest_gps_position.fix_quality,
             (double)latest_gps_position.timestamp);
      print_heading_field();
      printf(",%lu", (unsigned long)latest_gps_position.tick);
      print_status_if_due(&last_status_tick);
      printf("\n");
      new_gga_available = 0;
    }
    osDelay(1);
  }
  /* USER CODE END 5 */
}

void HAL_TIM_PeriodElapsedCallback(TIM_HandleTypeDef *htim)
{
  if (htim->Instance == TIM4)
  {
    HAL_IncTick();
  }
  /* USER CODE BEGIN Callback 1 */
  if (htim->Instance == TIM1)
  {
    md_tim1_uie_fired();   /* Set A OPM expiry — window close */
  }
  else if (htim->Instance == TIM8)
  {
    md_tim8_uie_fired();   /* Set B OPM expiry — window close */
  }
  /* USER CODE END Callback 1 */
}

void Error_Handler(void)
{
  __disable_irq();
  while (1)
  {
  }
}
